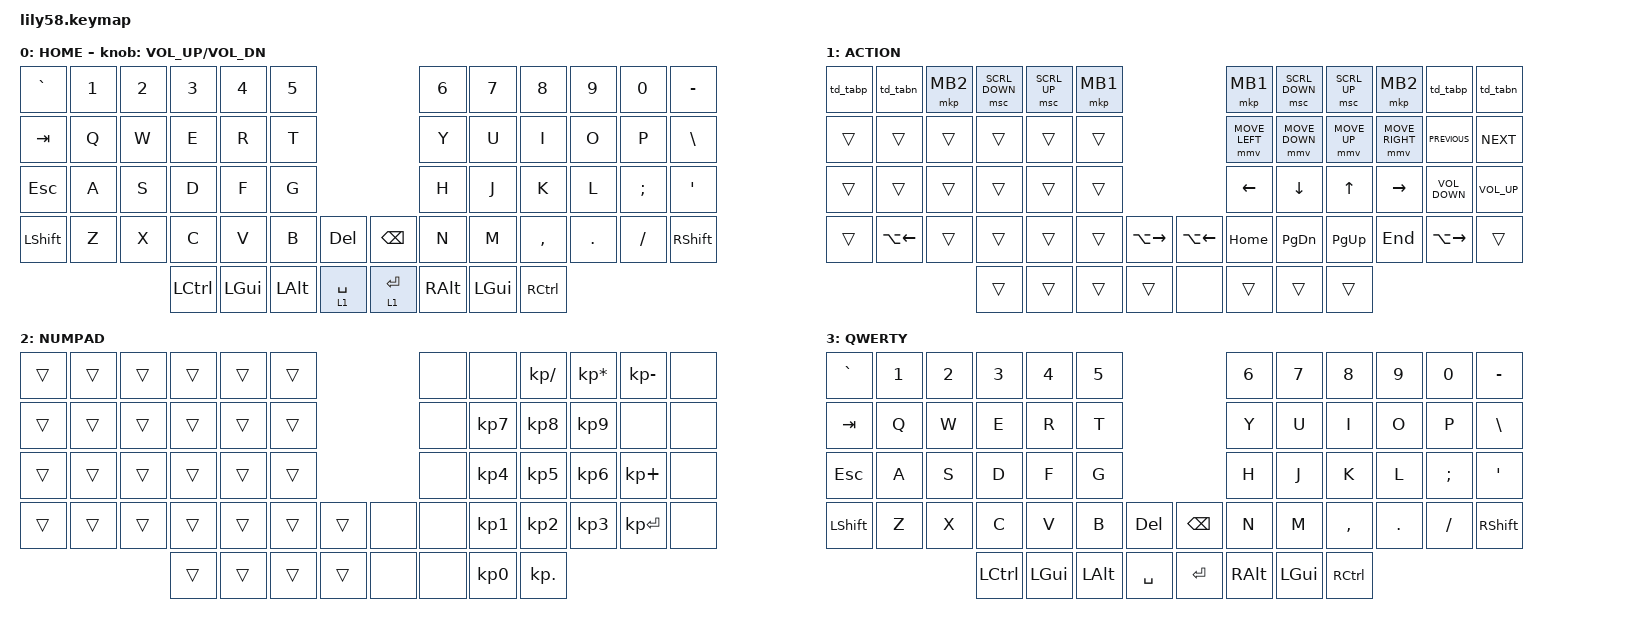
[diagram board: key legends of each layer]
/*
 * Copyright (c) 2020 The ZMK Contributors
 *
 * SPDX-License-Identifier: MIT
 */

#include <behaviors.dtsi>
#include <dt-bindings/zmk/bt.h>
#include <dt-bindings/zmk/keys.h>
#include <dt-bindings/zmk/pointing.h>

/ {
    combos {
        compatible = "zmk,combos";

        ACTION_MB3 {
            bindings = <&mkp MB3>;
            key-positions = <7 8>;
            layers = <1>;
        };

        BASE_BT0 {
            bindings = <&bt BT_SEL 0>;
            key-positions = <1 53>;
            layers = <0>;
        };

        BASE_BT1 {
            bindings = <&bt BT_SEL 1>;
            key-positions = <53 2>;
            layers = <0>;
        };

        BASE_BT2 {
            bindings = <&bt BT_SEL 2>;
            key-positions = <53 3>;
            layers = <0>;
        };

        BASE_BT3 {
            bindings = <&bt BT_SEL 3>;
            key-positions = <53 4>;
            layers = <0>;
        };

        BASE_BT4 {
            bindings = <&bt BT_SEL 4>;
            key-positions = <53 5>;
            layers = <0>;
        };

        BASE_BrackBraceL {
            bindings = <&kp LEFT_BRACKET>;
            key-positions = <54 9>;
            layers = <0>;
        };

        BASE_BrackBraceR {
            bindings = <&kp RIGHT_BRACKET>;
            key-positions = <54 10>;
            layers = <0>;
        };

        BASE_EqualsPlus {
            bindings = <&kp EQUAL>;
            key-positions = <54 11>;
            layers = <0>;
        };

        BASE_DoubleTap_BTCLR {
            bindings = <&td_none_btclr>;
            key-positions = <53 0>;
            layers = <0>;
        };

        ACTION_Mute {
            bindings = <&kp C_MUTE>;
            key-positions = <34 35>;
            layers = <1>;
        };

        ACTION_PlayPause {
            bindings = <&kp C_PP>;
            key-positions = <22 23>;
            layers = <1>;
        };

        ACTION_F_Fivedra {
            bindings = <&td_f_fivedra>;
            key-positions = <43 48>;
            layers = <1>;
        };

        ACTION_tabdaga {
            bindings = <&td_tabdaga>;
            key-positions = <10 11>;
            layers = <1>;
        };

        ACTION_F_Fivedra_LEFT {
            bindings = <&td_f_fivedra>;
            key-positions = <42 37>;
            layers = <1>;
        };

        ACTION_tabdaga_LEFT {
            bindings = <&td_tabdaga>;
            key-positions = <0 1>;
            layers = <1>;
        };

        BASE_hold_NUMPAD {
            bindings = <&mo 2>;
            key-positions = <54 55>;
        };

        GLOBAL_TapLayerCycle {
            bindings = <&td_layer_cycle>;
            key-positions = <53 54>;
            layers = <0 3>;
        };
    };

    behaviors {
        td_f_fivedra: td_f_fivedra {
            compatible = "zmk,behavior-tap-dance";
            label = "TD_F_FIVEDRA";
            #binding-cells = <0>;
            bindings = <&kp F5>, <&kp LS(F5)>;
        };

        td_tabp: td_tabp {
            compatible = "zmk,behavior-tap-dance";
            label = "TD_TABD";
            #binding-cells = <0>;
            bindings = <&kp LC(LS(TAB))>, <&kp LC(PAGE_UP)>;
        };

        td_tabn: td_tabn {
            compatible = "zmk,behavior-tap-dance";
            label = "TD_TABN";
            #binding-cells = <0>;
            bindings = <&kp LC(TAB)>, <&kp LC(PAGE_DOWN)>;
        };

        td_none_btclr: td_none_btclr {
            compatible = "zmk,behavior-tap-dance";
            label = "TD_NONE_BTCLR";
            #binding-cells = <0>;
            bindings = <&none>, <&bt BT_CLR>;
        };

        td_tabdaga: td_tabdaga {
            compatible = "zmk,behavior-tap-dance";
            label = "TD_TABDAGA";
            #binding-cells = <0>;
            bindings = <&mt LC(LS(W)) LC(W)>, <&kp LC(W)>;
        };

        td_layer_cycle: td_layer_cycle {
            compatible = "zmk,behavior-tap-dance";
            label = "TD_LAYER_CYCLE";
            #binding-cells = <0>;
            bindings = <&to 0>, <&to 3>;
        };
    };

    keymap {
        compatible = "zmk,keymap";

        BASE {
            // ------------------------------------------------------------------------------------------------------------
            // |  ESC  |  1  |  2  |  3   |  4   |  5   |                   |  6   |  7    |  8    |  9   |   0   |   `   |
            // |  TAB  |  Q  |  W  |  E   |  R   |  T   |                   |  Y   |  U    |  I    |  O   |   P   |   -   |
            // |  CTRL |  A  |  S  |  D   |  F   |  G   |                   |  H   |  J    |  K    |  L   |   ;   |   '   |
            // | SHIFT |  Z  |  X  |  C   |  V   |  B   |   "["  |  |  "]"  |  N   |  M    |  ,    |  .   |   /   | SHIFT |
            //                     | ALT  | GUI  | LOWER|  SPACE |  | ENTER | RAISE| BSPC  | GUI   |

            display-name = "HOME";
            bindings = <
&kp GRAVE  &kp N1  &kp N2  &kp N3     &kp N4    &kp N5                                      &kp N6         &kp N7    &kp N8     &kp N9   &kp N0    &kp MINUS
&kp TAB    &kp Q   &kp W   &kp E      &kp R     &kp T                                       &kp Y          &kp U     &kp I      &kp O    &kp P     &kp BACKSLASH
&kp ESC    &kp A   &kp S   &kp D      &kp F     &kp G                                       &kp H          &kp J     &kp K      &kp L    &kp SEMI  &kp SQT
&kp LSHFT  &kp Z   &kp X   &kp C      &kp V     &kp B         &kp DELETE     &kp BACKSPACE  &kp N          &kp M     &kp COMMA  &kp DOT  &kp FSLH  &kp RSHFT
                           &kp LCTRL  &kp LGUI  &kp LEFT_ALT  &lt 1 SPACE    &lt 1 ENTER    &kp RIGHT_ALT  &kp LGUI  &kp RCTRL
            >;

            sensor-bindings = <&inc_dec_kp C_VOL_UP C_VOL_DN>;
            label = "BASE";
        };

        ACTION {
            bindings = <
&td_tabp  &td_tabn            &mkp MB2  &msc SCRL_DOWN  &msc SCRL_UP  &mkp MB1                                             &mkp MB1        &msc SCRL_DOWN  &msc SCRL_UP  &mkp MB2         &td_tabp             &td_tabn
&trans    &trans              &trans    &trans          &trans        &trans                                               &mmv MOVE_LEFT  &mmv MOVE_DOWN  &mmv MOVE_UP  &mmv MOVE_RIGHT  &kp C_PREVIOUS       &kp C_NEXT
&trans    &trans              &trans    &trans          &trans        &trans                                               &kp LEFT        &kp DOWN        &kp UP        &kp RIGHT        &kp C_VOLUME_DOWN    &kp C_VOLUME_UP
&trans    &kp LA(LEFT_ARROW)  &trans    &trans          &trans        &trans    &kp LA(RIGHT_ARROW)    &kp LA(LEFT_ARROW)  &kp HOME        &kp PG_DN       &kp PG_UP     &kp END          &kp LA(RIGHT_ARROW)  &trans
                                        &trans          &trans        &trans    &trans                 &none               &trans          &trans          &trans
            >;

            label = "ACTION";
        };

        NUMPAD {
            bindings = <
&trans  &trans  &trans  &trans  &trans  &trans                   &none  &none            &kp KP_DIVIDE    &kp KP_MULTIPLY  &kp KP_MINUS  &none
&trans  &trans  &trans  &trans  &trans  &trans                   &none  &kp KP_NUMBER_7  &kp KP_NUMBER_8  &kp KP_NUMBER_9  &none         &none
&trans  &trans  &trans  &trans  &trans  &trans                   &none  &kp KP_NUMBER_4  &kp KP_NUMBER_5  &kp KP_NUMBER_6  &kp KP_PLUS   &none
&trans  &trans  &trans  &trans  &trans  &trans  &trans    &none  &none  &kp KP_NUMBER_1  &kp KP_NUMBER_2  &kp KP_NUMBER_3  &kp KP_ENTER  &none
                        &trans  &trans  &trans  &trans    &none  &none  &kp KP_NUMBER_0  &kp KP_DOT
            >;

            label = "NUMPAD";
        };

        QWERTY {
            label = "QWERTY";
            display-name = "QWERTY";
            bindings = <
&kp GRAVE  &kp N1  &kp N2  &kp N3     &kp N4    &kp N5                                     &kp N6         &kp N7    &kp N8     &kp N9   &kp N0    &kp MINUS
&kp TAB    &kp Q   &kp W   &kp E      &kp R     &kp T                                      &kp Y          &kp U     &kp I      &kp O    &kp P     &kp BACKSLASH
&kp ESC    &kp A   &kp S   &kp D      &kp F     &kp G                                      &kp H          &kp J     &kp K      &kp L    &kp SEMI  &kp SQT
&kp LSHFT  &kp Z   &kp X   &kp C      &kp V     &kp B         &kp DELETE    &kp BACKSPACE  &kp N          &kp M     &kp COMMA  &kp DOT  &kp FSLH  &kp RSHFT
                           &kp LCTRL  &kp LGUI  &kp LEFT_ALT  &kp SPACE     &kp RET        &kp RIGHT_ALT  &kp LGUI  &kp RCTRL
            >;
        };
    };
};
